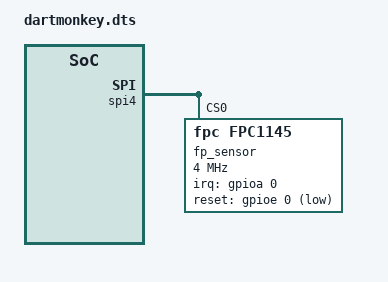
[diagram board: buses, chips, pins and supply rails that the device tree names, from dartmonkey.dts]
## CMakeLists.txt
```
# Copyright 2024 The ChromiumOS Authors
# Use of this source code is governed by a BSD-style license that can be
# found in the LICENSE file.

zephyr_library_sources("src/power.c")
zephyr_library_sources("src/init.c")

zephyr_compile_definitions(PINCTRL_STATE_PROD=PINCTRL_STATE_PRIV_START)
```

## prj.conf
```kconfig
# Copyright 2024 The ChromiumOS Authors
# Use of this source code is governed by a BSD-style license that can be
# found in the LICENSE file.

# Force NUM_IRQS to 150 to override any dynamic calculation that Zephyr does
# based on peripherals enabled in devicetree.
# This is necessary for RW FWID offset to match the address expected by the RO
# firmware. The RW FWID is located 4 bytes into a fixed linked section placed
# directly after the vector table. If the size of the vector table is lower,
# the RW FWID is placed under a lower address, which does not match the offset
# expected by RO and fails the build.
CONFIG_NUM_IRQS=150

CONFIG_BOARD_DARTMONKEY=y

# The NULL pointer exception page size must be a power of two
# and have size greater or equal ARM_MPU_REGION_MIN_ALIGN_AND_SIZE
CONFIG_CORTEX_M_NULL_POINTER_EXCEPTION_PAGE_SIZE=0x80

# Peripherals
CONFIG_COUNTER=y
CONFIG_DMA=y

# Power Management
CONFIG_PM=y
CONFIG_PM_DEVICE=y

# TODO: uncomment these options back and disable EXCEPTION_DEBUG
# CONFIG_EXCEPTION_DEBUG=n
# CONFIG_PLATFORM_EC_PANIC_STRIP_GPR=y
CONFIG_EXCEPTION_DEBUG=y
CONFIG_PLATFORM_EC_PANIC_STRIP_GPR=n

# Hwinfo (used by cros-system driver for STM32)
CONFIG_HWINFO=y

# STM32 flash driver options
CONFIG_FLASH_STM32_READOUT_PROTECTION=y
CONFIG_FLASH_STM32_WRITE_PROTECT=y
CONFIG_FLASH_STM32_BLOCK_REGISTERS=y

# STM32 entropy driver options
CONFIG_ENTROPY_STM32_THR_POOL_SIZE=32
CONFIG_ENTROPY_STM32_THR_THRESHOLD=16

# IWDG watchdog
CONFIG_IWDG_STM32_INITIAL_TIMEOUT=10000
CONFIG_PLATFORM_EC_WATCHDOG_PERIOD_MS=10000
CONFIG_PLATFORM_EC_WATCHDOG_WARNING_LEADING_TIME_MS=3000
CONFIG_PLATFORM_EC_WATCHDOG_HELPER=y

# Set HOOK_TICK INTERVAL in microseconds to reload watchdog
CONFIG_CROS_EC_HOOK_TICK_INTERVAL=500000

# CrOS drivers
CONFIG_CROS_FLASH_READOUT_PROTECTION=y
CONFIG_CROS_SYSTEM_STM32=y

# Priorities
CONFIG_PLATFORM_EC_FLASH_INIT_PRIORITY=60
CONFIG_CROS_SYSTEM_INIT_PRIORITY=71
CONFIG_PLATFORM_EC_SYSTEM_PRE_INIT_PRIORITY=72

# Host Commands
CONFIG_EC_HOST_CMD_INITIALIZE_AT_BOOT=y
CONFIG_EC_HOST_CMD_HANDLER_TX_BUFFER_SIZE=552
CONFIG_EC_HOST_CMD_HANDLER_RX_BUFFER_SIZE=544
CONFIG_EC_HOST_CMD_BACKEND_SPI=y

# Allow usage of "%l" and "%i"
CONFIG_PLATFORM_EC_PRINTF_LONG_IS_32BITS=y

# Enable DMA for SPI, which is used for communication with a sensor
CONFIG_SPI_STM32_DMA=y

CONFIG_PLATFORM_EC_DEBUG_ASSERT=n

# Enable and create uncacheable buffers needed for DMA
CONFIG_NOCACHE_MEMORY=y
CONFIG_DCACHE=y

# Clear MPU and cache before boot
CONFIG_INIT_ARCH_HW_AT_BOOT=y
```

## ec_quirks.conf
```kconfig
# Copyright 2024 The ChromiumOS Authors
# Use of this source code is governed by a BSD-style license that can be
# found in the LICENSE file.

CONFIG_DARTMONKEY_EC_RO_QUIRKS=y
CONFIG_CROS_FLASH_STM32_EC_JUMP_STRUCTURE=y
```

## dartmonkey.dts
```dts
/* Copyright 2023 The ChromiumOS Authors.
 * Use of this source code is governed by a BSD-style license that can be
 * found in the LICENSE file.
 */

#include "soc.dtsi"
#include "gpio.dtsi"
#include "rwsig.dtsi"

#include <cros/integrated_fwid.dtsi>
#include <cros/integrated_ro_frid.dtsi>

#define FPC1145_COMMON_IMAGE_PROPS \
	width = <56>; \
	height = <192>; \
	bits-per-pixel = <8>; \
	image-data-offset-bytes = <2340>; \
	v4l2-pixel-format = "V4L2_PIX_FMT_GREY";

#define FPC1145_RAW_IMAGE_PROPS \
	FPC1145_COMMON_IMAGE_PROPS \
	frame-size = <35460>;

#define FPC1145_REAL_IMAGE_PROPS \
	FPC1145_COMMON_IMAGE_PROPS \
	frame-size = <10752>;

/ {
	chosen {
		cros-fp,fingerprint-sensor = &fp_sensor;
		cros-fp,fingerprint-memory-template = &sram1;
		zephyr,host-cmd-spi-backend = &spi1;
		zephyr,nocache-ram = &sram4;
		zephyr,system-timer = &lptim1;
	};

	named-bbram-regions {
		compatible = "named-bbram-regions";

		scratchpad {
			offset = <0x00>;
			size = <0x02>;
		};

		/* When CONFIG_STM32_EXTENDED_RESET_FLAGS is defined, saved-reset-flags
		 * uses two entries: BKPDATA_INDEX_SAVED_RESET_FLAGS (offset 0x02, 2 bytes)
		 * and BKPDATA_INDEX_SAVED_RESET_FLAGS_2 (offset 0x04, 2 bytes), totaling
		 * 4 bytes.
		 * CONFIG_STM32_EXTENDED_RESET_FLAGS is defined explicitly for Dartmonkey,
		 * so use 32-bit extended reset flags.
		 */
		saved-reset-flags {
			offset = <0x02>;
			size = <0x04>;
		};
		saved-panic-reason {
			offset = <0x06>;
			size = <0x02>;
		};
		saved-panic-info {
			offset = <0x08>;
			size = <0x02>;
		};
		saved-panic-exception {
			offset = <0x0a>;
			size = <0x02>;
		};
		saved-panic-flags {
			offset = <0x0c>;
			size = <0x02>;
		};
	};

	binman {
		/* First 6 sectors (128KB each) used for RO */
		wp-ro {
			offset = <0x0>;
			size = <0xc0000>;
			ec-ro {
				size = <0xc0000>;
				pad-byte = <0xff>;
				ro-fw {
					/*
					 * Clang doesn't emit STT_SECTION symbols (also
					 * called 'section symbols'), so 'rom_start'
					 * symbol is not available. Fortunately, Zephyr
					 * linker scripts provide '__rom_start_address'
					 * symbol which points to the beginning of
					 * 'rom_start' section.
					 */
					elf-base-sym = "__rom_start_address";
				};
			};
		};

		/* Two sectors used for rollback (128KB each) */
		rollback0 {
			offset = <0xc0000>;
			size = <0x20000>;
			type = "blob";
			filename = "../build-rw/rollback_initial_data.bin";
		};

		rollback1 {
			offset = <0xe0000>;
			size = <0x20000>;
			type = "blob";
			filename = "../build-rw/rollback_initial_data.bin";
		};

		/* Remaining 8 sectors (128KB each) used for RW */
		ec-rw {
			offset = <0x100000>;
			size = <0x100000>;
			rw-fw {
				/*
				 * Clang doesn't emit STT_SECTION symbols (also
				 * called 'section symbols'), so 'rom_start'
				 * symbol is not available. Fortunately, Zephyr
				 * linker scripts provide '__rom_start_address'
				 * symbol which points to the beginning of
				 * 'rom_start' section.
				 */
				zephyr-rw {
					elf-base-sym = "__rom_start_address";
				};
			};
		};
		pad-byte = <0xff>;
	};
};

&flash0 {
	partitions {
		compatible = "fixed-partitions";
		#address-cells = <1>;
		#size-cells = <1>;

		/* Seventh sector is used as first rollback sector. */
		rollback0: partition@c0000 {
			label = "rollback0";
			reg = <0xc0000 DT_SIZE_K(128)>;
		};

		/* Eighth sector is used as second rollback sector. */
		rollback1: partition@e0000 {
			label = "rollback1";
			reg = <0xe0000 DT_SIZE_K(128)>;
		};
	};
};

&spi4 {
	fp_sensor: fpc1145@0 {
		compatible = "fpc,fpc1145";
		reg = <0>;
		spi-max-frequency = <4000000>;

		configs {
			compatible = "fingerprint-image-frame-params";
			config0 {
				FPC1145_RAW_IMAGE_PROPS
				capture-type = "FINGERPRINT_CAPTURE_TYPE_VENDOR_FORMAT";
			};
			config1 {
				FPC1145_REAL_IMAGE_PROPS
				capture-type = "FINGERPRINT_CAPTURE_TYPE_SIMPLE_IMAGE";
			};
			config2 {
				FPC1145_REAL_IMAGE_PROPS
				capture-type = "FINGERPRINT_CAPTURE_TYPE_PATTERN0";
			};
			config3 {
				FPC1145_REAL_IMAGE_PROPS
				capture-type = "FINGERPRINT_CAPTURE_TYPE_PATTERN1";
			};
			config4 {
				FPC1145_RAW_IMAGE_PROPS
				capture-type = "FINGERPRINT_CAPTURE_TYPE_QUALITY_TEST";
			};
			config5 {
				FPC1145_REAL_IMAGE_PROPS
				capture-type = "FINGERPRINT_CAPTURE_TYPE_RESET_TEST";
			};
		};

		irq-gpios = <&gpioa 0 (GPIO_ACTIVE_HIGH | GPIO_PULL_DOWN)>;
		reset-gpios = <&gpioe 0 GPIO_ACTIVE_LOW>;
	};
};
```

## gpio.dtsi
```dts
/* Copyright 2024 The ChromiumOS Authors.
 * Use of this source code is governed by a BSD-style license that can be
 * found in the LICENSE file.
 */

#include <dt-bindings/gpio_defines.h>

/ {
	aliases {
		gpio-wp = &ec_wp_l;
	};

	named-gpios {
		compatible = "named-gpios";

		ap_ec_int_l {
			gpios = <&gpioa 1 GPIO_OUTPUT_HIGH>;
			enum-name = "GPIO_EC_INT_L";
		};

		ec_wp_l: write-protect {
			gpios = <&gpiob 7 GPIO_INPUT>;
		};

		fp_spi_sel: fp_spi_sel {
			gpios = <&gpioe 1 GPIO_INPUT>;
		};

		slp_l: slp_l {
			gpios = <&gpiod 13 GPIO_INPUT>;
		};

		slp_alt_l: slp_alt_l {
			gpios = <&gpioa 11 GPIO_INPUT>;
		};

		slp_alt_dev_l: slp_alt_dev_l {
			gpios = <&gpiod 14 GPIO_INPUT>;
		};

		transport_sel: transport_sel {
			gpios = <&gpiob 1 GPIO_INPUT>;
		};

		user_pres_l {
			gpios = <&gpioc 5 GPIO_ODR_HIGH>;
		};

		div_highside: div_highside {
			gpios = <&gpiob 8 GPIO_OUTPUT_LOW>;
		};

		/* unimplemented GPIOs */
		entering-rw {
			enum-name = "GPIO_ENTERING_RW";
		};
	};
};
```

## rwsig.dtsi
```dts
/* Copyright 2024 The ChromiumOS Authors.
 * Use of this source code is governed by a BSD-style license that can be
 * found in the LICENSE file.
 */

&binman {
	wp-ro {
		ec-ro {
			key-ro {
				compatible = "cros-ec,flash-layout";
				type = "section";
				offset = <(0xc0000 - 0x400)>;
				size = <0x400>;
			};
		};
	};

	ec-rw {
		rw-fw {
			pad-byte = <0xff>;

			rw-rbver {
				size = <4>;
				type = "null";
				/* points to
				 * current_image_data.rollback_version
				 */
				offset-from-elf = <&zephyr_rw>,
					"current_image_data", <40>;
				overlap;
			};

			sig-rw {
				type = "section";
				/* Offset within rw-fw */
				offset = <(0x100000 - 0x400)>;
				size = <0x400>;
			};
		};
	};
};
```

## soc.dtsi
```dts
/* Copyright 2024 The ChromiumOS Authors.
 * Use of this source code is governed by a BSD-style license that can be
 * found in the LICENSE file.
 */

#include <cros/st/stm32.dtsi>
#include <zephyr/dt-bindings/pinctrl/stm32-pinctrl.h>
#include <st/h7/stm32h743vitx-pinctrl.dtsi>

&iwdg {
	status = "okay";
};

&timers16 {
	/*
	 * 16-bit counter clocked at 64 MHz (HSI) by default.
	 * Setting prescaler to 16384 gives ~16.8s maximum timeout.
	 */
	st,prescaler = <0x4000>;
	status = "okay";
	wdg_helper_counter: counter {
		status = "okay";
	};
};

&wdg_helper {
	counter = <&wdg_helper_counter>;
	status = "okay";
};

/* RNG module uses hsi48 clock as a source by default. */
/* TODO: Enable only to get random number. Connect it to RNG and device suspend and resume?. */
&clk_hsi48 {
	status = "okay";
};

&perck {
	status = "okay";
	clocks = <&rcc STM32_SRC_HSI_KER CKPER_SEL(0)>;
};

&rng {
	status = "okay";
};

&dmamux1 {
	status = "okay";
};

&dma1 {
	/*
	 * Only SPI1 and SPI4 use DMA, and both are configured to use streams
	 * from DMA2: numeric channels 8-15 in &spi1 and &spi4 properties
	 * correspond to physical channels 0-7 in DMA2. With only four out of
	 * eight available DMA2 streams occupied, one DMA instance is more than
	 * enough. Disable DMA1 to save power.
	 */
	status = "disabled";
};

&dma2 {
	status = "okay";
};

&spi1 {
	compatible = "st,stm32h7-spi", "st,stm32-spi-host-cmd", "st,stm32-spi-fifo";
	status = "okay";

	pinctrl-0 = <&spi1_nss_pa4 &spi1_sck_pa5 &spi1_miso_pa6 &spi1_mosi_pa7>;
	pinctrl-names = "default";

	/* Select per_ck(hsi_ker_ck) as source clock for SPI1 */
	clocks = <&rcc STM32_CLOCK(APB2, 12U)>,
		 <&rcc STM32_SRC_CKPER SPI123_SEL(4)>;

	/* Use channel 3 for SPI1_TX_DMA (38) and channel 0 for SPI1_RX_DMA (37).
	 * Source: RM0433 STM32H7x Reference Manual, Table 102 */
	dmas = <&dmamux1 11 38 (STM32_DMA_PERIPH_TX | STM32_DMA_PRIORITY_VERY_HIGH)
		 &dmamux1 8 37 (STM32_DMA_PERIPH_RX | STM32_DMA_PRIORITY_VERY_HIGH)>;
	dma-names = "tx", "rx";

	/* This field is used to point at our CS pin */
	cs-gpios = <&gpioa 4 (GPIO_PULL_UP)>;
};

&spi4 {
	/*
	 * pinctrl-0 is inherited from upstream google_icetower.dts (pins 11-14).
	 * Add pinctrl-1 for production hardware (pins 2,4,5,6) and override
	 * pinctrl-names.
	 */
	pinctrl-1 = <&spi4_sck_pe2 &spi4_nss_pe4
		     &spi4_miso_pe5 &spi4_mosi_pe6>;
	pinctrl-names = "default", "prod";

	/* Select hsi_ker_ck as source clock for SPI4 */
	clocks = <&rcc STM32_CLOCK(APB2, 13U)>,
		 <&rcc STM32_SRC_HSI_KER SPI45_SEL(3)>;

	/* Use channel 1 for SPI4_TX_DMA (84) and channel 4 for SPI4_RX_DMA (83).
	 * Source: RM0433 STM32H7x Reference Manual, Table 102 */
	dmas = <&dmamux1 9 84 (STM32_DMA_PERIPH_TX | STM32_DMA_PRIORITY_HIGH)
	       &dmamux1 12 83 (STM32_DMA_PERIPH_RX | STM32_DMA_PRIORITY_HIGH)>;
	dma-names = "tx", "rx";
};

/*
 * Extend SRAM1 to cover contiguous SRAM1, SRAM2 and SRAM3 (288kB total).
 * Disable SRAM2 and SRAM3 to avoid generating overlapping linker regions.
 */
&sram1 {
	reg = <0x30000000 DT_SIZE_K(288)>;
	zephyr,memory-region = "SRAM1";
};

&sram2 {
	status = "disabled";
};

&sram3 {
	status = "disabled";
};

/*
 * Upstream Ethernet node contains references to sram2 and sram3 nodes.
 * Remove this property to avoid unresolved phandles to disabled nodes.
 */
&mac {
	/delete-property/ memory-regions;
};

&pll {
	div-m = <4>;
	mul-n = <50>;
	div-p = <2>;
	clocks = <&clk_hsi>;
	status = "okay";
	no-auto-enable;
};

&pwr {
	voltage-scale=<3>;
};

&usart1 {
	/* Select hsi_ker_ck as source clock for USART1 */
	clocks = <&rcc STM32_CLOCK(APB2, 4U)>,
		 <&rcc STM32_SRC_HSI_KER USART16_SEL(3)>;
};

&lptim1 {
	/* To use LPTIM1 as system timer, two clock sources need to be provided:
	 *   APB1 bus clock that powers the register interface of LPTIM1,
	 *   LSI that powers the timer's counter.
	 */
	clocks = <&rcc STM32_CLOCK(APB1, 9)>,
		 <&rcc STM32_SRC_LSI LPTIM1_SEL(4)>;
	st,prescaler = <1>;
	status = "okay";
};
```

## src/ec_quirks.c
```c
/* Copyright 2024 The ChromiumOS Authors
 * Use of this source code is governed by a BSD-style license that can be
 * found in the LICENSE file.
 */

#include "hooks.h"

#include <zephyr/device.h>
#include <zephyr/devicetree.h>
#include <zephyr/drivers/clock_control/stm32_clock_control.h>
#include <zephyr/drivers/reset.h>
#include <zephyr/drivers/timer/system_timer.h>
#include <zephyr/init.h>
#include <zephyr/kernel.h>

#include <stm32h7xx_ll_tim.h>

#define RESET_PERIPHERAL(idx) \
	reset_line_toggle_dt(&(struct reset_dt_spec)RESET_DT_SPEC_GET(idx));

#define TIMER2_NODE DT_NODELABEL(timers2)

extern void arm_core_mpu_disable(void);

static void prepare_for_sysjump_to_ec(void)
{
	/* Reset timers and UARTs to the defaults. */
	DT_FOREACH_STATUS_OKAY(st_stm32_timers, RESET_PERIPHERAL);
	DT_FOREACH_STATUS_OKAY(st_stm32_uart, RESET_PERIPHERAL);

	/*
	 * When HW_STACK_PROTECTION is enabled on ARMv7-M microcontroller then
	 * the last 64 bytes of the stack is protected to detect stack
	 * overflows. Size of protected region must be greater than exception
	 * frame, so CPU won't overwrite some other data when exception occurs.
	 *
	 * EC uses different RAM layout than Zephyr, so it's possible that after
	 * sysjump some variables are stored in the protected region. EC also
	 * reconfigures MPU late (Zephyr does it in reset handler).
	 *
	 * Disable MPU protection to avoid problems after sysjump to EC.
	 */
	arm_core_mpu_disable();

	/*
	 * Disable system clock because it's unused in EC.
	 */
#if defined(CONFIG_PM)
	/* LPTIM1 */
	RESET_PERIPHERAL(DT_NODELABEL(lptim1));
#else
	/* Cortex-M Systick */
	sys_clock_disable();
#endif
}
DECLARE_HOOK(HOOK_SYSJUMP, prepare_for_sysjump_to_ec, HOOK_PRIO_LAST);

/*
 * Old FPMCU RO (EC based) uses TIM2 to measure system uptime and schedule
 * tasks. Zephyr uses different counter for these purposes, so disable it.
 */
static int disable_tim2(void)
{
	struct stm32_pclken pclken = { .bus = DT_CLOCKS_CELL(TIMER2_NODE, bus),
				       .enr = DT_CLOCKS_CELL(TIMER2_NODE,
							     bits) };
	LL_TIM_DisableCounter((TIM_TypeDef *)(DT_REG_ADDR(TIMER2_NODE)));
	irq_disable(DT_IRQN(TIMER2_NODE));

	clock_control_off(DEVICE_DT_GET(STM32_CLOCK_CONTROL_NODE),
			  (clock_control_subsys_t)&pclken);

	return 0;
}
SYS_INIT(disable_tim2, POST_KERNEL, CONFIG_APPLICATION_INIT_PRIORITY);
```

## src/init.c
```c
/* Copyright 2024 The ChromiumOS Authors
 * Use of this source code is governed by a BSD-style license that can be
 * found in the LICENSE file.
 */

#include "init.h"

#include <zephyr/device.h>
#include <zephyr/devicetree.h>
#include <zephyr/drivers/gpio.h>
#include <zephyr/drivers/pinctrl.h>
#include <zephyr/init.h>
#include <zephyr/kernel.h>
#include <zephyr/logging/log.h>

#include <common.h>
#include <gpio_signal.h>

LOG_MODULE_REGISTER(dartmonkey_init, LOG_LEVEL_INF);

PINCTRL_DT_DEFINE(DT_NODELABEL(spi4));

#define DIV_HIGHSIDE_SETTLE_TIME_US 5

test_export_static bool checked_is_prod;
static bool is_board_prod;

int is_board_prod_hw(bool *is_prod)
{
	if (checked_is_prod) {
		*is_prod = is_board_prod;
		return 0;
	}

	checked_is_prod = true;

	const struct gpio_dt_spec *spi_sel = GPIO_DT_FROM_NODELABEL(fp_spi_sel);
	const struct gpio_dt_spec *highside =
		GPIO_DT_FROM_NODELABEL(div_highside);
	int ret;

	if (!gpio_is_ready_dt(spi_sel)) {
		LOG_ERR("SPI SEL GPIO device not ready");
		return -ENODEV;
	}

	if (!gpio_is_ready_dt(highside)) {
		LOG_ERR("DIV HIGHSIDE GPIO device not ready");
		return -ENODEV;
	}

	ret = gpio_pin_configure_dt(spi_sel, GPIO_INPUT | GPIO_PULL_UP);
	if (ret < 0) {
		return ret;
	}
	gpio_pin_set_dt(highside, 1);
	k_usleep(DIV_HIGHSIDE_SETTLE_TIME_US);

	/* PE1 == 0 -> Dev board, PE1 == 1 -> Production Hardware */
	*is_prod = gpio_pin_get_dt(spi_sel);
	LOG_INF("Detected hardware: %s", *is_prod ? "Production" : "Dev board");

	/* Clean up: disable pull-up on spi_sel and clear highside */
	gpio_pin_configure_dt(spi_sel, GPIO_INPUT);
	gpio_pin_set_dt(highside, 0);

	return 0;
}

test_export_static int init_spi_select(void)
{
	static const struct pinctrl_dev_config *spi4_pcfg =
		PINCTRL_DT_DEV_CONFIG_GET(DT_NODELABEL(spi4));
	bool is_prod;
	int ret = is_board_prod_hw(&is_prod);

	if (ret < 0) {
		return ret;
	}

	if (is_prod) {
		const struct pinctrl_state *prod_state;
		ret = pinctrl_lookup_state(spi4_pcfg, PINCTRL_STATE_PROD,
					   &prod_state);
		if (0 == ret) {
			ret = pinctrl_apply_state_direct(spi4_pcfg, prod_state);
		}
	} else {
		/* The default has already been applied by the SPI driver */
	}

	return ret;
}
SYS_INIT(init_spi_select, POST_KERNEL, CONFIG_APPLICATION_INIT_PRIORITY);
```

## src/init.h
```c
// Copyright 2026 The ChromiumOS Authors
// Use of this source code is governed by a BSD-style license that can be
// found in the LICENSE file.

#ifndef __DARTMONKEY_INIT_H__
#define __DARTMONKEY_INIT_H__

#include <stdbool.h>

/**
 * @brief Check if the target is a development board or production hardware.
 *
 * @return 0 on success, negative error code on failure.
 */
int is_board_prod_hw(bool *is_prod);

#endif // __DARTMONKEY_INIT_H__
```

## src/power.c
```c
/* Copyright 2024 The ChromiumOS Authors
 * Use of this source code is governed by a BSD-style license that can be
 * found in the LICENSE file.
 */

#include "hooks.h"
#include "init.h"

#include <zephyr/device.h>
#include <zephyr/devicetree.h>
#include <zephyr/drivers/gpio.h>
#include <zephyr/init.h>
#include <zephyr/kernel.h>
#include <zephyr/pm/policy.h>

static struct k_work slp_event_work;
static struct gpio_callback slp_event_callback;
static struct gpio_callback slp_alt_event_callback;
static const struct gpio_dt_spec *slp_alt;

static void slp_event_handler(struct k_work *work)
{
	static bool suspend_allowed = true;
	/*
	 * Behavior:
	 * AP Active  (ex. Intel S0):   SLP_L is 1
	 * AP Suspend (ex. Intel S0ix): SLP_L is 0
	 * The alternative SLP_ALT_L should be pulled high at all the times.
	 *
	 * Legacy Intel behavior:
	 * in S3:   SLP_ALT_L is 0 and SLP_L is X.
	 * in S0ix: SLP_ALT_L is X and SLP_L is 0.
	 * in S0:   SLP_ALT_L is 1 and SLP_L is 1.
	 * in S5/G3, the FP MCU should not be running.
	 */
	int running = gpio_pin_get_dt(slp_alt) &&
		      gpio_pin_get_dt(GPIO_DT_FROM_NODELABEL(slp_l));

	if (running) { /* AP is S0 */
		if (suspend_allowed) {
			pm_policy_state_lock_get(PM_STATE_SUSPEND_TO_IDLE,
						 PM_ALL_SUBSTATES);
			suspend_allowed = false;
		}
		/* Added for compatibility with CrosEC, even if there are no
		 * consumers for this signal.
		 */
		hook_notify(HOOK_CHIPSET_RESUME);
	} else { /* AP is suspend/S0ix/S3 */
		hook_notify(HOOK_CHIPSET_SUSPEND);
		if (!suspend_allowed) {
			pm_policy_state_lock_put(PM_STATE_SUSPEND_TO_IDLE,
						 PM_ALL_SUBSTATES);
			suspend_allowed = true;
		}
	}
}

static void slp_event_isr(const struct device *port, struct gpio_callback *cb,
			  gpio_port_pins_t pins)
{
	/* Use k_work to call hook_notify */
	k_work_submit(&slp_event_work);
}

static int slp_event_init(void)
{
	bool is_prod;
	int ret = is_board_prod_hw(&is_prod);

	if (ret < 0) {
		return ret;
	}

	slp_alt = is_prod ? GPIO_DT_FROM_NODELABEL(slp_alt_l) :
			    GPIO_DT_FROM_NODELABEL(slp_alt_dev_l);

	k_work_init(&slp_event_work, slp_event_handler);

	/* Enable and configure interrupts for both sleep pins */
	gpio_init_callback(&slp_event_callback, slp_event_isr,
			   BIT(GPIO_DT_FROM_NODELABEL(slp_l)->pin));
	gpio_add_callback_dt(GPIO_DT_FROM_NODELABEL(slp_l),
			     &slp_event_callback);
	gpio_pin_interrupt_configure_dt(GPIO_DT_FROM_NODELABEL(slp_l),
					GPIO_INT_EDGE_BOTH);

	gpio_init_callback(&slp_alt_event_callback, slp_event_isr,
			   BIT(slp_alt->pin));
	gpio_add_callback_dt(slp_alt, &slp_alt_event_callback);
	gpio_pin_interrupt_configure_dt(slp_alt, GPIO_INT_EDGE_BOTH);

	/* Get init state of the sleep pins */
	k_work_submit(&slp_event_work);

	return 0;
}
SYS_INIT(slp_event_init, POST_KERNEL, CONFIG_APPLICATION_INIT_PRIORITY);
```
